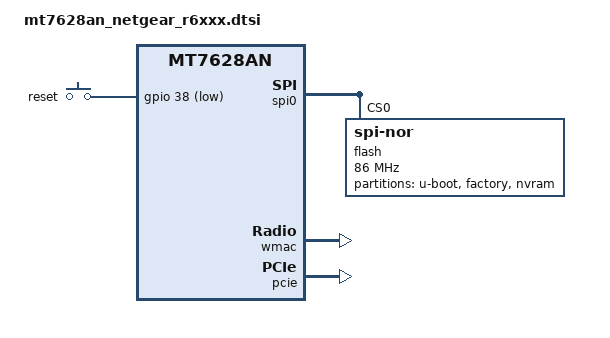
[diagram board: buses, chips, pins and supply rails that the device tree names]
// SPDX-License-Identifier: GPL-2.0-or-later OR MIT

#include "mt7628an.dtsi"

#include <dt-bindings/gpio/gpio.h>
#include <dt-bindings/input/input.h>

/ {
	keys {
		compatible = "gpio-keys";

		reset {
			label = "reset";
			gpios = <&gpio 38 GPIO_ACTIVE_LOW>;
			linux,code = <KEY_RESTART>;
		};
	};
};

&spi0 {
	status = "okay";

	flash@0 {
		compatible = "jedec,spi-nor";
		reg = <0>;
		spi-max-frequency = <86000000>;
		m25p,fast-read;

		partitions: partitions {
			compatible = "fixed-partitions";
			#address-cells = <1>;
			#size-cells = <1>;

			partition@0 {
				label = "u-boot";
				reg = <0x0 0x40000>;
				read-only;
			};

			factory: partition@40000 {
				label = "factory";
				reg = <0x40000 0x20000>;
				read-only;
			};

			partition@60000 {
				label = "nvram";
				reg = <0x60000 0x30000>;
				read-only;
			};
		};
	};
};

&wmac {
	status = "okay";
};

&ethernet {
	mtd-mac-address = <&factory 0x4>;
};

&pcie {
	status = "okay";
};

&pcie0 {
	wifi5: wifi@0,0 {
		reg = <0x0000 0 0 0 0>;
		mediatek,mtd-eeprom = <&factory 0x8000>;
		ieee80211-freq-limit = <5000000 6000000>;
	};
};
